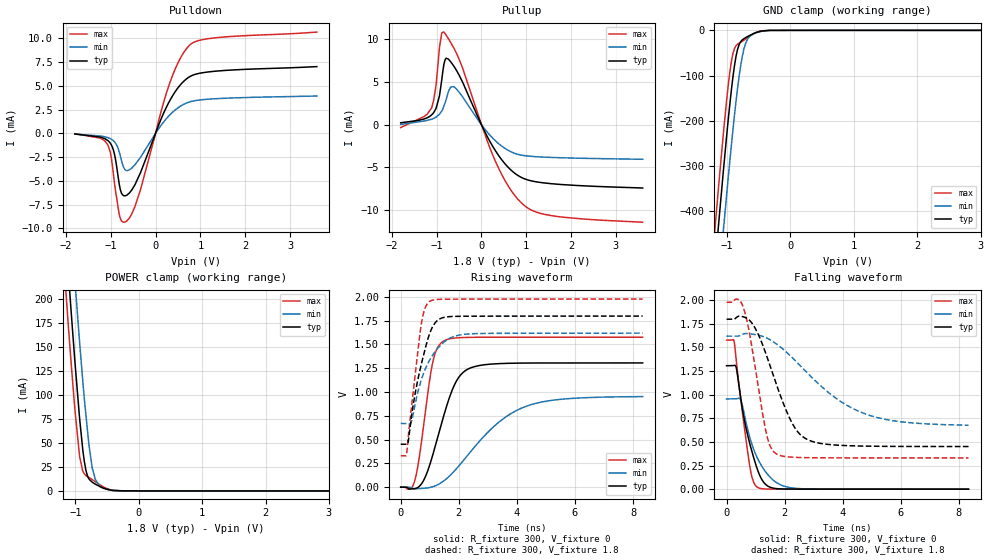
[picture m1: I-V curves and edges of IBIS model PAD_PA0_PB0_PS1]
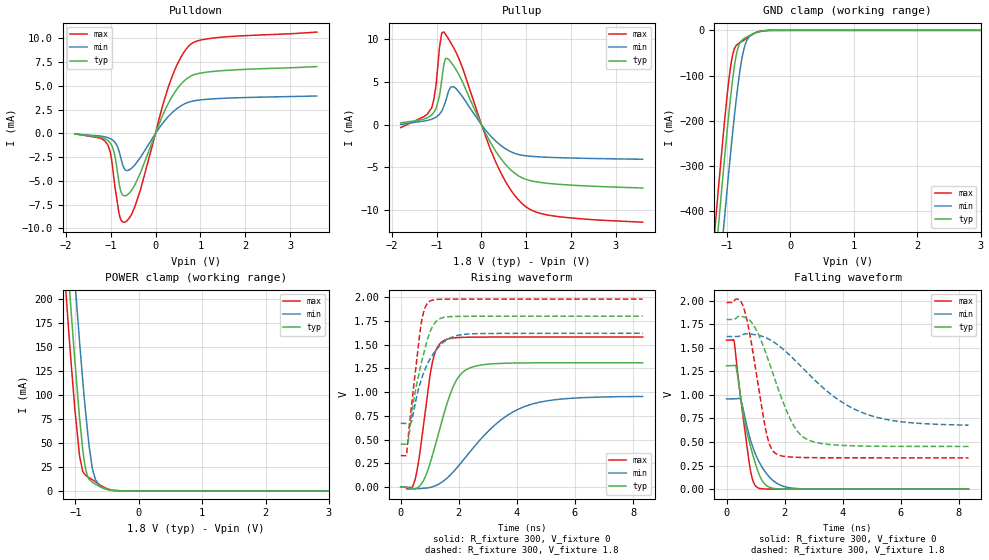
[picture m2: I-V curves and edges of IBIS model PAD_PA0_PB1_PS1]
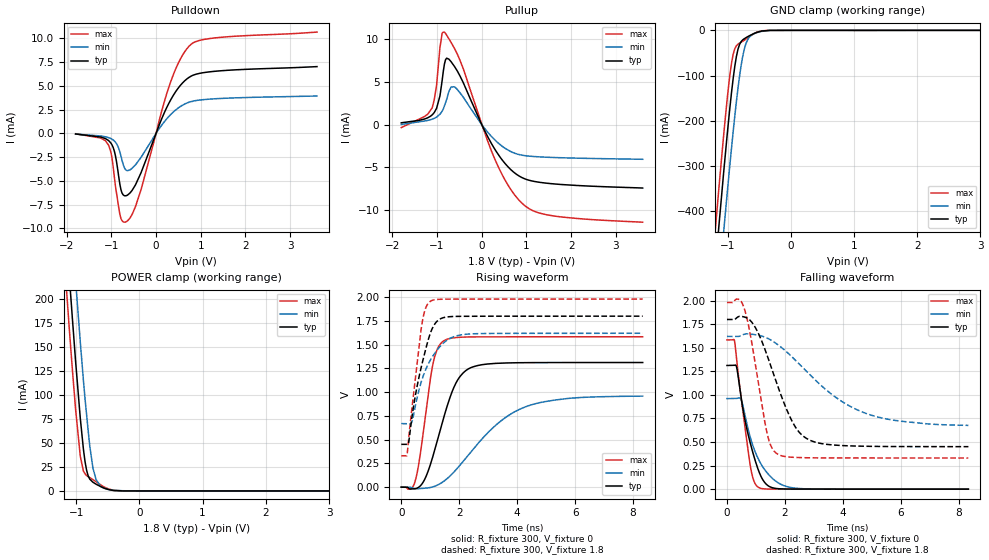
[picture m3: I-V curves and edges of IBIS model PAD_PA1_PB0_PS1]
| Created by Rohan Chadhury
[IBIS Ver]   4.1
[File Name]   io_buffer.ibs
[File Rev]   1.0
[Date]   Fri 30 Nov 2011 11:26:06 AM MST
[Source]   From XYZ Semiconductor, Inc. layout and silicon models.
[Notes]   Model of io_buffer from library abcd in the tsmc22 process.
[Disclaimer] This file is only for evaluation purposes. No express
                warranty is implied. This IBIS model was made from spice
                simulation data and has not been Validated, or Correlated
                with measured Data. The Power and Ground clamp curves use
                the best spice model available but the ON spice models
                for clamps have not been verified and therefore may not
                be completely accurate.
[Copyright]
The data in this file contains sample data
[Component]   io_buffer
[Manufacturer]  XYZ Semiconductor
[Package]
R_pkg   0   0   0
L_pkg   0   0   0
C_pkg   0   0   0
[Pin]   signal_name   model_name   R_pin   L_pin   C_pin
1   PAD   PAD_model_selector   NA   NA   NA
2   OGND   GND   NA   NA   NA
3   OPWR   POWER   NA   NA   NA
| PAD
[Model Selector]   PAD_model_selector
PAD_PA0_PB0_PS1 PA0_PB0_PS1
PAD_PA0_PB1_PS1 PA0_PB1_PS1
PAD_PA1_PB0_PS1 PA1_PB0_PS1
PAD_PA1_PB1_PS1 PA1_PB1_PS1
PAD_PA0_PB0_PS0 PA0_PB0_PS0
PAD_PA0_PB1_PS0 PA0_PB1_PS0
PAD_PA1_PB0_PS0 PA1_PB0_PS0
PAD_PA1_PB1_PS0 PA1_PB1_PS0
| Models and submodels in the file (8): PAD_PA0_PB0_PS1 (I/O), PAD_PA0_PB1_PS1 (I/O), PAD_PA1_PB0_PS1 (I/O), PAD_PA1_PB1_PS1 (I/O), PAD_PA0_PB0_PS0 (I/O), PAD_PA0_PB1_PS0 (I/O), PAD_PA1_PB0_PS0 (I/O), PAD_PA1_PB1_PS0 (I/O)
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[Model]   PAD_PA0_PB0_PS1
Model_type I/O
Vinl  =  0.54
Vinh  =  1.26
Vmeas =  0.9
| Capacitance   typ   min   max
C_comp   1.4956e-12   1.4369e-12   1.5705e-12
| Variables   typ   min   max
[GND Clamp Reference]   0   0   0
[POWER Clamp Reference]   1.8   1.62   1.98
[Pulldown Reference]   0   0   0
[Pullup Reference]   1.8   1.62   1.98
[Temperature Range]   25   125   -40
[Voltage Range]   1.8   1.62   1.98
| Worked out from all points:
|   slope of the pulldown table from 0 to 0.27 V, typ, clamps not added: 89.5 ohm
|   slope of the pullup table from 0 to 0.27 V, typ, clamps not added: 100 ohm
|   GND clamp passes 1 mA (typ) near -0.41 V on its own axis
|   POWER clamp passes 1 mA (typ) near -0.45 V on its own axis
|   rising waveform, R_fixture 300, V_fixture 0: 20-80 % time 778ps typ, 1.83ns min, 428ps max; typ from 0 V to 1.3 V
|   rising waveform, R_fixture 300, V_fixture 1.8: 20-80 % time 548ps typ, 710ps min, 374ps max; typ from 0.451 V to 1.8 V
|   falling waveform, R_fixture 300, V_fixture 0: 20-80 % time 559ps typ, 697ps min, 395ps max; typ from 1.3 V to 0 V
|   falling waveform, R_fixture 300, V_fixture 1.8: 20-80 % time 981ps typ, 2.15ns min, 534ps max; typ from 1.8 V to 0.451 V
[GND Clamp]
| Voltage   I(typ)   I(min)   I(max)
-1.8V     -1.523A    -1.632A    -1.455A
-1.234V   -589.8mA   -717.8mA   -507.6mA
-1.135V   -428.7mA   -559.6mA   -344.9mA
-1.06V    -311.2mA   -442.8mA   -228.7mA
-984.8mV  -200.8mA   -329mA     -124.5mA
-934.9mV  -134.5mA   -256.7mA   -70.49mA
-860mV    -57.75mA   -157.4mA   -34.04mA
-810.1mV  -31.19mA   -101.1mA   -28.17mA
-760.2mV  -21.05mA   -57.46mA   -24.17mA
-685.3mV  -14.31mA   -21.45mA   -16.91mA
-335.8mV  -82.25uA   -264.7uA   -43.52uA
3.6V      0A         0A         0A
[POWER Clamp]
| Voltage   I(typ)   I(min)   I(max)
-1.8V     902.6mA    988.3mA    831.8mA
-1.16V    271.7mA    359mA      215.7mA
-1.135V   248.2mA    335.3mA    192.6mA
-1.085V   202mA      288.3mA    147.7mA
-1.01V    135.6mA    219.8mA    85.34mA
-934.9mV  75.72mA    155.1mA    36.13mA
-860mV    30.65mA    95.94mA    17.9mA
-785.1mV  12.28mA    46.91mA    13.83mA
-735.2mV  9.024mA    23.87mA    11.8mA
-685.3mV  6.999mA    11.84mA    9.53mA
-410.7mV  440.7uA    581uA      646.6uA
3.6V      0A         0A         0A
[Pullup]
| Voltage   I(typ)   I(min)   I(max)
-1.8V     215.7uA    24.33uA    -345.2uA
-1.11V    1.146mA    636.6uA    1.96mA
-1.01V    1.921mA    880uA      4.672mA
-934.9mV  3.375mA    1.22mA     9.046mA
-885mV    5.21mA     1.588mA    10.74mA
-835.1mV  7.106mA    2.199mA    10.86mA
-785.1mV  7.796mA    2.954mA    10.49mA
-610.4mV  6.826mA    4.44mA     8.943mA
313.3mV   -3.057mA   -1.893mA   -4.292mA
887.5mV   -6.177mA   -3.57mA    -9.149mA
1.562V    -6.925mA   -3.845mA   -10.67mA
3.6V      -7.432mA   -4.062mA   -11.44mA
[Pulldown]
| Voltage   I(typ)   I(min)   I(max)
-1.8V     -62.47uA   -70.83uA   -35.76uA
-1.06V    -760.3uA   -449.4uA   -1.25mA
-984.8mV  -1.213mA   -610.9uA   -2.616mA
-934.9mV  -1.832mA   -788.9uA   -4.524mA
-810.1mV  -5.34mA    -1.94mA    -8.513mA
-685.3mV  -6.567mA   -3.792mA   -9.328mA
-535.5mV  -5.992mA   -3.67mA    -8.519mA
-335.8mV  -4.134mA   -2.518mA   -5.923mA
338.3mV   3.622mA    2.037mA    5.575mA
737.7mV   5.896mA    3.282mA    9.174mA
1.337V    6.545mA    3.648mA    10.06mA
3.6V      7.027mA    3.934mA    10.66mA
[Ramp]
dV/dt_r   0.783177/0.777869n  0.571014/1.82503n  0.945426/0.428226n
dV/dt_f   0.807931/0.981404n  0.565261/2.14753n  0.987523/0.53375n
R_load = 300
[Rising Waveform]
R_fixture = 300
V_fixture = 0
V_fixture_min = 0
V_fixture_max = 0
| Time   V(typ)   V(min)   V(max)
0s        151.6nV    1.405uV    106.4nV
480.7ps   -15.94mV   -17.53mV   64.92mV
780.4ps   66.04mV    -12.22mV   628.2mV
1.094ns   327.6mV    3.4mV      1.3V
1.467ns   735mV      61.97mV    1.533V
1.945ns   1.128V     202.4mV    1.569V
2.533ns   1.266V     419.2mV    1.575V
3.492ns   1.299V     709.6mV    1.575V
4.469ns   1.304V     865.2mV    1.576V
8.333ns   1.305V     951.7mV    1.576V
[Rising Waveform]
R_fixture = 300
V_fixture = 1.8
V_fixture_min = 1.62
V_fixture_max = 1.98
| Time   V(typ)   V(min)   V(max)
0s        450.8mV    669.2mV    330.4mV
198.7ps   449.7mV    668.4mV    337.9mV
255.9ps   471.7mV    667.5mV    517.8mV
367.6ps   737.5mV    686.2mV    832mV
698.1ps   1.277V     1.116V     1.692V
829.2ps   1.439V     1.229V     1.873V
1.004ns   1.62V      1.339V     1.953V
1.338ns   1.767V     1.481V     1.974V
2.13ns    1.796V     1.604V     1.976V
8.333ns   1.797V     1.618V     1.976V
[Falling Waveform]
R_fixture = 300
V_fixture = 0
V_fixture_min = 0
V_fixture_max = 0
| Time   V(typ)   V(min)   V(max)
0s        1.305V     954mV      1.576V
261.5ps   1.308V     954.7mV    1.562V
342.1ps   1.274V     956.1mV    1.338V
493.3ps   945.5mV    938.5mV    939.8mV
794ps     488.6mV    553.8mV    253.1mV
912.5ps   356.2mV    439.2mV    90.11mV
1.069ns   203mV      324.3mV    19.35mV
1.42ns    32.89mV    154.3mV    1.219mV
2.22ns    858.1uV    14.8mV     692.8uV
8.333ns   324.4nV    28.08uV    107.4nV
[Falling Waveform]
R_fixture = 300
V_fixture = 1.8
V_fixture_min = 1.62
V_fixture_max = 1.98
| Time   V(typ)   V(min)   V(max)
0s        1.797V     1.618V     1.976V
393.3ps   1.826V     1.618V     2.007V
591ps     1.822V     1.641V     1.91V
954.6ps   1.719V     1.636V     1.348V
1.365ns   1.424V     1.601V     598.2mV
1.707ns   1.116V     1.538V     374.6mV
2.336ns   657.1mV    1.368V     337mV
2.941ns   505.6mV    1.18V      332.3mV
4.995ns   454.1mV    774.1mV    330.6mV
8.333ns   450.8mV    676.1mV    330.4mV
[Model]   PAD_PA0_PB1_PS1
Model_type I/O
Vinl  =  0.54
Vinh  =  1.26
Vmeas =  0.9
| Capacitance   typ   min   max
C_comp   1.4956e-12   1.4369e-12   1.5705e-12
| Variables   typ   min   max
[GND Clamp Reference]   0   0   0
[POWER Clamp Reference]   1.8   1.62   1.98
[Pulldown Reference]   0   0   0
[Pullup Reference]   1.8   1.62   1.98
[Temperature Range]   25   125   -40
[Voltage Range]   1.8   1.62   1.98
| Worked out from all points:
|   slope of the pulldown table from 0 to 0.27 V, typ, clamps not added: 89.5 ohm
|   slope of the pullup table from 0 to 0.27 V, typ, clamps not added: 100 ohm
|   GND clamp passes 1 mA (typ) near -0.42 V on its own axis
|   POWER clamp passes 1 mA (typ) near -0.46 V on its own axis
|   rising waveform, R_fixture 300, V_fixture 0: 20-80 % time 770ps typ, 1.82ns min, 422ps max; typ from 0 V to 1.31 V
|   rising waveform, R_fixture 300, V_fixture 1.8: 20-80 % time 541ps typ, 702ps min, 369ps max; typ from 0.453 V to 1.8 V
|   falling waveform, R_fixture 300, V_fixture 0: 20-80 % time 555ps typ, 683ps min, 394ps max; typ from 1.31 V to 0 V
|   falling waveform, R_fixture 300, V_fixture 1.8: 20-80 % time 980ps typ, 2.15ns min, 532ps max; typ from 1.8 V to 0.453 V
[GND Clamp]
| Voltage   I(typ)   I(min)   I(max)
-1.8V     -1.523A    -1.632A    -1.455A
-1.234V   -589.8mA   -717.8mA   -507.6mA
-1.135V   -428.7mA   -559.6mA   -344.9mA
-1.06V    -311.2mA   -442.8mA   -228.7mA
-984.8mV  -200.8mA   -329mA     -124.4mA
-934.9mV  -134.5mA   -256.7mA   -70.47mA
-860mV    -57.74mA   -157.4mA   -34.02mA
-810.1mV  -31.18mA   -101.1mA   -28.15mA
-760.2mV  -21.03mA   -57.45mA   -24.15mA
-685.3mV  -14.29mA   -21.44mA   -16.88mA
-335.8mV  -62.8uA    -254.7uA   -12.39uA
3.6V      0A         0A         0A
[POWER Clamp]
| Voltage   I(typ)   I(min)   I(max)
-1.8V     902.6mA    988.3mA    831.8mA
-1.16V    271.7mA    359mA      215.7mA
-1.135V   248.2mA    335.2mA    192.6mA
-1.085V   202mA      288.3mA    147.7mA
-1.01V    135.6mA    219.8mA    85.32mA
-934.9mV  75.71mA    155.1mA    36.09mA
-860mV    30.63mA    95.94mA    17.84mA
-785.1mV  12.25mA    46.91mA    13.77mA
-735.2mV  8.988mA    23.86mA    11.73mA
-685.3mV  6.962mA    11.83mA    9.46mA
-410.7mV  402.4uA    562.5uA    575.8uA
3.6V      0A         0A         0A
[Pullup]
| Voltage   I(typ)   I(min)   I(max)
-1.8V     215.7uA    25.55uA    -345.2uA
-1.11V    1.146mA    636.6uA    1.96mA
-1.01V    1.921mA    880uA      4.672mA
-934.9mV  3.375mA    1.22mA     9.046mA
-885mV    5.21mA     1.588mA    10.74mA
-835.1mV  7.106mA    2.199mA    10.86mA
-785.1mV  7.796mA    2.954mA    10.49mA
-610.4mV  6.826mA    4.44mA     8.943mA
313.3mV   -3.057mA   -1.893mA   -4.292mA
887.5mV   -6.177mA   -3.57mA    -9.149mA
1.562V    -6.925mA   -3.845mA   -10.67mA
3.6V      -7.432mA   -4.062mA   -11.44mA
[Pulldown]
| Voltage   I(typ)   I(min)   I(max)
-1.8V     -62.47uA   -70.83uA   -35.95uA
-1.06V    -760.3uA   -449.4uA   -1.25mA
-984.8mV  -1.213mA   -610.9uA   -2.616mA
-934.9mV  -1.832mA   -788.9uA   -4.524mA
-810.1mV  -5.34mA    -1.94mA    -8.513mA
-685.3mV  -6.567mA   -3.792mA   -9.328mA
-535.5mV  -5.992mA   -3.67mA    -8.519mA
-335.8mV  -4.134mA   -2.518mA   -5.923mA
338.3mV   3.622mA    2.037mA    5.575mA
737.7mV   5.896mA    3.282mA    9.174mA
1.337V    6.545mA    3.648mA    10.06mA
3.6V      7.027mA    3.936mA    10.66mA
[Ramp]
dV/dt_r   0.785509/0.769888n  0.572887/1.81592n  0.948429/0.421644n
dV/dt_f   0.808253/0.979697n  0.564725/2.14735n  0.988785/0.532233n
R_load = 300
[Rising Waveform]
R_fixture = 300
V_fixture = 0
V_fixture_min = 0
V_fixture_max = 0
| Time   V(typ)   V(min)   V(max)
0s        154.7nV    1.412uV    109nV
475.6ps   -16.8mV    -17.4mV    60.13mV
784.2ps   69.33mV    -12.41mV   654.2mV
1.08ns    320.7mV    2.149mV    1.297V
1.466ns   748.8mV    63.01mV    1.54V
1.944ns   1.138V     207mV      1.574V
2.558ns   1.272V     435.9mV    1.58V
3.511ns   1.303V     721.1mV    1.58V
4.529ns   1.308V     875.1mV    1.58V
8.333ns   1.309V     954.8mV    1.581V
[Rising Waveform]
R_fixture = 300
V_fixture = 1.8
V_fixture_min = 1.62
V_fixture_max = 1.98
| Time   V(typ)   V(min)   V(max)
0s        452.9mV    671.9mV    332mV
198.7ps   451.8mV    671.1mV    339.7mV
255.9ps   474.1mV    670.2mV    521.9mV
367.6ps   744mV      688.9mV    845.9mV
690.6ps   1.281V     1.115V     1.692V
826.5ps   1.448V     1.233V     1.88V
1.004ns   1.63V      1.345V     1.958V
1.35ns    1.773V     1.49V      1.978V
2.157ns   1.799V     1.608V     1.979V
8.333ns   1.8V       1.62V      1.98V
[Falling Waveform]
R_fixture = 300
V_fixture = 0
V_fixture_min = 0
V_fixture_max = 0
| Time   V(typ)   V(min)   V(max)
0s        1.309V     957mV      1.581V
261.6ps   1.311V     957.8mV    1.568V
344.8ps   1.274V     959.3mV    1.338V
497.5ps   943mV      938.5mV    940.4mV
799.2ps   484.6mV    549.6mV    243.1mV
914.8ps   353.4mV    436.7mV    83.92mV
1.063ns   204.8mV    325.3mV    17.29mV
1.421ns   28.97mV    148.2mV    1.196mV
2.217ns   897.1uV    12.8mV     340uV
8.333ns   245.5nV    28.33uV    119.8nV
[Falling Waveform]
R_fixture = 300
V_fixture = 1.8
V_fixture_min = 1.62
V_fixture_max = 1.98
| Time   V(typ)   V(min)   V(max)
0s        1.8V       1.62V      1.98V
392.3ps   1.829V     1.62V      2.015V
591.5ps   1.827V     1.643V     1.922V
972ps     1.718V     1.639V     1.33V
1.385ns   1.417V     1.603V     580.3mV
1.704ns   1.129V     1.544V     375.9mV
2.352ns   654.6mV    1.369V     338.5mV
2.928ns   509mV      1.19V      333.9mV
4.958ns   456.3mV    781.2mV    332.6mV
8.333ns   452.9mV    678.8mV    332mV
[Model]   PAD_PA1_PB0_PS1
Model_type I/O
Vinl  =  0.54
Vinh  =  1.26
Vmeas =  0.9
| Capacitance   typ   min   max
C_comp   1.4956e-12   1.4369e-12   1.5705e-12
| Variables   typ   min   max
[GND Clamp Reference]   0   0   0
[POWER Clamp Reference]   1.8   1.62   1.98
[Pulldown Reference]   0   0   0
[Pullup Reference]   1.8   1.62   1.98
[Temperature Range]   25   125   -40
[Voltage Range]   1.8   1.62   1.98
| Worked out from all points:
|   slope of the pulldown table from 0 to 0.27 V, typ, clamps not added: 89.5 ohm
|   slope of the pullup table from 0 to 0.27 V, typ, clamps not added: 100 ohm
|   GND clamp passes 1 mA (typ) near -0.41 V on its own axis
|   POWER clamp passes 1 mA (typ) near -0.45 V on its own axis
|   rising waveform, R_fixture 300, V_fixture 0: 20-80 % time 785ps typ, 1.85ns min, 432ps max; typ from 0 V to 1.31 V
|   rising waveform, R_fixture 300, V_fixture 1.8: 20-80 % time 551ps typ, 716ps min, 376ps max; typ from 0.451 V to 1.8 V
|   falling waveform, R_fixture 300, V_fixture 0: 20-80 % time 567ps typ, 705ps min, 399ps max; typ from 1.31 V to 0 V
|   falling waveform, R_fixture 300, V_fixture 1.8: 20-80 % time 995ps typ, 2.19ns min, 540ps max; typ from 1.8 V to 0.451 V
[GND Clamp]
| Voltage   I(typ)   I(min)   I(max)
-1.8V     -1.523A    -1.632A    -1.455A
-1.234V   -589.8mA   -717.8mA   -507.6mA
-1.135V   -428.7mA   -559.6mA   -344.9mA
-1.06V    -311.2mA   -442.8mA   -228.7mA
-984.8mV  -200.8mA   -329mA     -124.5mA
-934.9mV  -134.5mA   -256.7mA   -70.49mA
-860mV    -57.75mA   -157.4mA   -34.04mA
-810.1mV  -31.19mA   -101.1mA   -28.17mA
-760.2mV  -21.05mA   -57.46mA   -24.17mA
-685.3mV  -14.31mA   -21.45mA   -16.91mA
-335.8mV  -82.25uA   -264.7uA   -43.52uA
3.6V      0A         0A         0A
[POWER Clamp]
| Voltage   I(typ)   I(min)   I(max)
-1.8V     902.6mA    988.3mA    831.8mA
-1.16V    271.7mA    359.1mA    215.7mA
-1.135V   248.2mA    335.3mA    192.6mA
-1.085V   202mA      288.3mA    147.7mA
-1.01V    135.6mA    219.8mA    85.36mA
-934.9mV  75.74mA    155.1mA    36.16mA
-860mV    30.67mA    95.95mA    17.94mA
-785.1mV  12.31mA    46.92mA    13.86mA
-735.2mV  9.047mA    23.88mA    11.82mA
-685.3mV  7.019mA    11.86mA    9.539mA
-410.7mV  436.2uA    585uA      622.9uA
3.6V      0A         0A         0A
[Pullup]
| Voltage   I(typ)   I(min)   I(max)
-1.8V     215.7uA    24.33uA    -345.1uA
-1.11V    1.146mA    636.6uA    1.96mA
-1.01V    1.921mA    880uA      4.672mA
-934.9mV  3.375mA    1.22mA     9.046mA
-885mV    5.21mA     1.588mA    10.74mA
-835.1mV  7.106mA    2.199mA    10.86mA
-785.1mV  7.796mA    2.954mA    10.49mA
-610.4mV  6.826mA    4.44mA     8.943mA
313.3mV   -3.057mA   -1.893mA   -4.292mA
887.5mV   -6.177mA   -3.57mA    -9.148mA
1.562V    -6.925mA   -3.845mA   -10.67mA
3.6V      -7.432mA   -4.062mA   -11.44mA
[Pulldown]
| Voltage   I(typ)   I(min)   I(max)
-1.8V     -62.47uA   -70.83uA   -35.76uA
-1.06V    -760.3uA   -449.4uA   -1.25mA
-984.8mV  -1.213mA   -610.9uA   -2.616mA
-934.9mV  -1.832mA   -788.9uA   -4.524mA
-810.1mV  -5.34mA    -1.94mA    -8.513mA
-685.3mV  -6.567mA   -3.792mA   -9.328mA
-535.5mV  -5.992mA   -3.67mA    -8.519mA
-335.8mV  -4.134mA   -2.518mA   -5.923mA
338.3mV   3.622mA    2.037mA    5.575mA
737.7mV   5.896mA    3.282mA    9.174mA
1.337V    6.545mA    3.648mA    10.06mA
3.6V      7.027mA    3.934mA    10.66mA
[Ramp]
dV/dt_r   0.787227/0.784908n  0.574981/1.84972n  0.949923/0.431772n
dV/dt_f   0.809503/0.994588n  0.566134/2.18759n  0.98978/0.539548n
R_load = 300
[Rising Waveform]
R_fixture = 300
V_fixture = 0
V_fixture_min = 0
V_fixture_max = 0
| Time   V(typ)   V(min)   V(max)
0s        151.8nV    1.405uV    106.5nV
486.2ps   -15.67mV   -17.48mV   70.72mV
790.6ps   71.84mV    -11.85mV   652.7mV
1.088ns   321.7mV    2.898mV    1.29V
1.488ns   756.5mV    66.59mV    1.544V
1.952ns   1.131V     205mV      1.576V
2.555ns   1.274V     427mV      1.582V
3.515ns   1.306V     714.9mV    1.582V
4.483ns   1.311V     866.1mV    1.583V
8.333ns   1.312V     958.3mV    1.583V
[Rising Waveform]
R_fixture = 300
V_fixture = 1.8
V_fixture_min = 1.62
V_fixture_max = 1.98
| Time   V(typ)   V(min)   V(max)
0s        450.8mV    669.2mV    330.4mV
198.7ps   449.7mV    668.4mV    337.9mV
255.9ps   471.7mV    667.5mV    517.8mV
367.6ps   737.5mV    686.2mV    831.9mV
700.7ps   1.279V     1.118V     1.695V
830.7ps   1.438V     1.229V     1.876V
1.01ns    1.626V     1.34V      1.958V
1.361ns   1.774V     1.489V     1.978V
2.156ns   1.799V     1.607V     1.979V
8.333ns   1.8V       1.62V      1.98V
[Falling Waveform]
R_fixture = 300
V_fixture = 0
V_fixture_min = 0
V_fixture_max = 0
| Time   V(typ)   V(min)   V(max)
0s        1.312V     960.7mV    1.583V
261.7ps   1.314V     961.4mV    1.57V
344.8ps   1.277V     962.9mV    1.343V
497.5ps   949mV      942.2mV    950.1mV
803.9ps   489.5mV    550.2mV    250.4mV
928.7ps   349.9mV    431.4mV    87.08mV
1.092ns   195.9mV    314.6mV    18.09mV
1.477ns   26.28mV    142.3mV    1.095mV
2.302ns   816.6uV    12.75mV    234.2uV
8.333ns   305.7nV    28.17uV    104.3nV
[Falling Waveform]
R_fixture = 300
V_fixture = 1.8
V_fixture_min = 1.62
V_fixture_max = 1.98
| Time   V(typ)   V(min)   V(max)
0s        1.8V       1.62V      1.98V
403.6ps   1.831V     1.62V      2.013V
596.4ps   1.827V     1.644V     1.917V
975.4ps   1.717V     1.639V     1.33V
1.389ns   1.417V     1.602V     587.5mV
1.728ns   1.114V     1.539V     375.6mV
2.366ns   657.1mV    1.367V     336.7mV
3.023ns   500.6mV    1.165V     332mV
4.979ns   454.1mV    785mV      331mV
8.333ns   450.8mV    676.4mV    330.4mV
